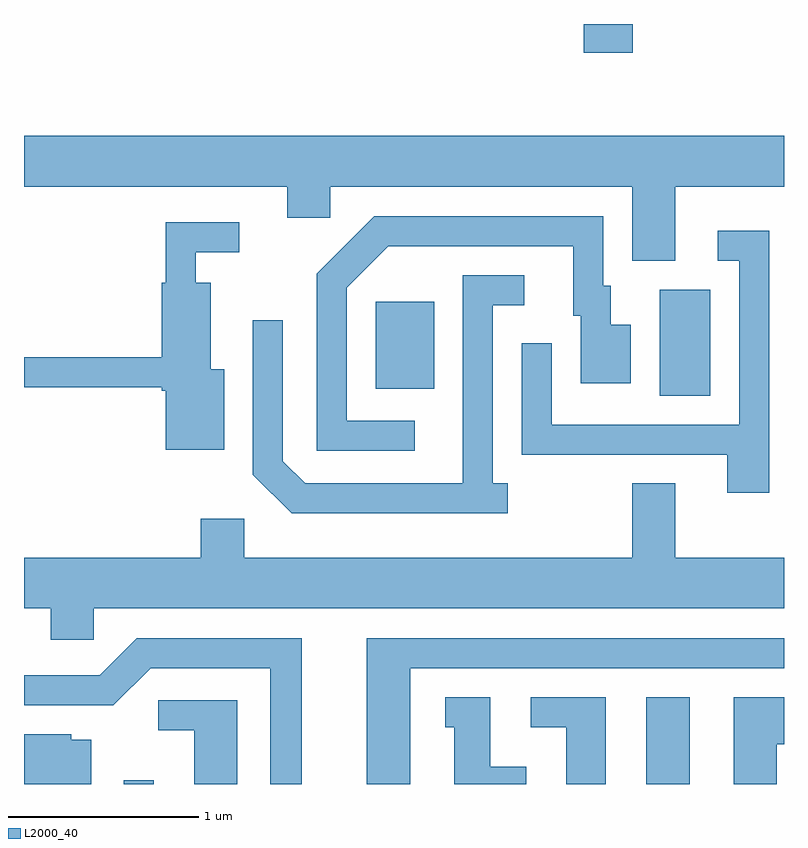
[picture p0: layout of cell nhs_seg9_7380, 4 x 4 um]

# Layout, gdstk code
import gdstk
lib = gdstk.Library(unit=1e-6, precision=1e-09)
def R(c, l, rs):  # rectangles x0, y0, x1, y1
    for r in rs: c.add(gdstk.rectangle(r[:2], r[2:], *l))
def P(c, l, *ps):  # polygons
    for p in ps: c.add(gdstk.Polygon(p, *l))
L2000_40 = (2000, 40)

nhs_seg9_7380 = lib.new_cell('nhs_seg9_7380')
R(nhs_seg9_7380, L2000_40, [(404.136,2006.432,404.294,2006.453), (406.886,2006.432,407.114,2006.889), (406.956,2008.476,407.224,2009.034), (405.461,2008.511,405.769,2008.969), (406.556,2010.281,406.814,2010.432)])
P(nhs_seg9_7380, L2000_40, [(407.039,2009.576),(407.611,2009.576),(407.611,2009.844),(403.611,2009.844),(403.611,2009.576),(404.996,2009.576),(404.996,2009.411),(405.224,2009.411),(405.224,2009.576),(406.811,2009.576),(406.811,2009.186),(407.039,2009.186)],
  [(405.668,2008.344),(405.309,2008.344),(405.309,2009.044),(405.527,2009.261),(406.501,2009.261),(406.501,2008.896),(406.541,2008.896),(406.541,2008.541),(406.804,2008.541),(406.804,2008.849),(406.699,2008.849),(406.699,2009.054),(406.659,2009.054),(406.659,2009.419),(405.454,2009.419),(405.151,2009.117),(405.151,2008.186),(405.668,2008.186)],
  [(404.664,2008.614),(404.594,2008.614),(404.594,2009.069),(404.514,2009.069),(404.514,2009.231),(404.743,2009.231),(404.743,2009.389),(404.356,2009.389),(404.356,2009.069),(404.336,2009.069),(404.336,2008.679),(403.611,2008.679),(403.611,2008.521),(404.336,2008.521),(404.336,2008.501),(404.356,2008.501),(404.356,2008.191),(404.664,2008.191)],
  [(407.534,2009.344),(407.263,2009.344),(407.263,2009.186),(407.376,2009.186),(407.376,2008.324),(406.389,2008.324),(406.389,2008.753),(406.231,2008.753),(406.231,2008.166),(407.311,2008.166),(407.311,2007.966),(407.534,2007.966)],
  [(406.158,2008.014),(406.079,2008.014),(406.079,2008.951),(406.243,2008.951),(406.243,2009.109),(405.921,2009.109),(405.921,2008.014),(405.092,2008.014),(404.974,2008.132),(404.974,2008.873),(404.816,2008.873),(404.816,2008.059),(405.019,2007.856),(406.158,2007.856)],
  [(407.611,2007.624),(407.039,2007.624),(407.039,2008.014),(406.811,2008.014),(406.811,2007.624),(404.769,2007.624),(404.769,2007.829),(404.541,2007.829),(404.541,2007.624),(403.611,2007.624),(403.611,2007.356),(403.751,2007.356),(403.751,2007.191),(403.979,2007.191),(403.979,2007.356),(407.611,2007.356)],
  [(405.074,2007.199),(404.204,2007.199),(404.009,2007.004),(403.611,2007.004),(403.611,2006.846),(404.082,2006.846),(404.277,2007.041),(404.906,2007.041),(404.906,2006.432),(405.074,2006.432)],
  [(405.644,2007.041),(407.611,2007.041),(407.611,2007.199),(405.416,2007.199),(405.416,2006.432),(405.644,2006.432)],
  [(406.674,2006.889),(406.278,2006.889),(406.278,2006.731),(406.466,2006.731),(406.466,2006.432),(406.674,2006.432)],
  [(407.574,2006.641),(407.611,2006.641),(407.611,2006.889),(407.346,2006.889),(407.346,2006.432),(407.574,2006.432)],
  [(406.254,2006.524),(406.064,2006.524),(406.064,2006.889),(405.828,2006.889),(405.828,2006.731),(405.876,2006.731),(405.876,2006.432),(406.254,2006.432)],
  [(404.734,2006.874),(404.318,2006.874),(404.318,2006.716),(404.506,2006.716),(404.506,2006.432),(404.734,2006.432)],
  [(403.964,2006.664),(403.859,2006.664),(403.859,2006.694),(403.611,2006.694),(403.611,2006.432),(403.964,2006.432)])

lib.write_gds('nhs_seg9_7380.gds')
